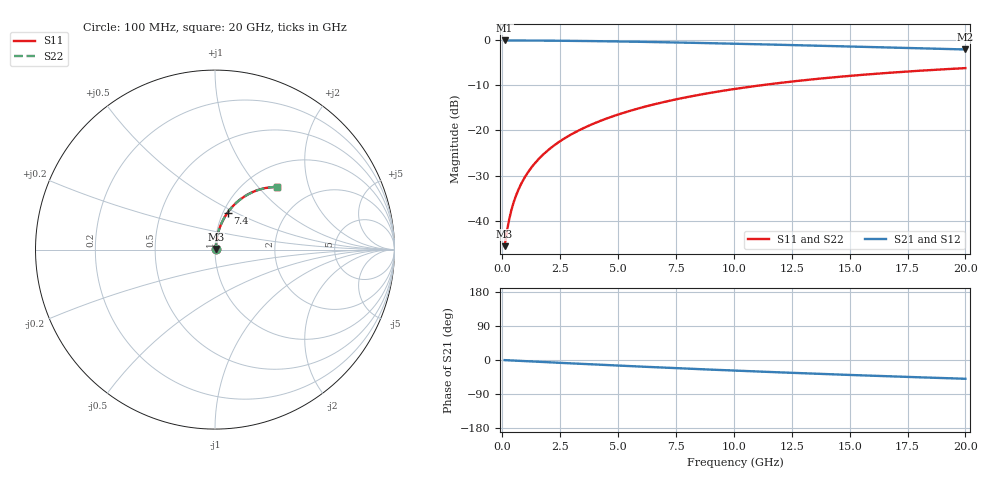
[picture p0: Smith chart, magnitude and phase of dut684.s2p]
! Touchstone file exported from HFSS 2024.1.0
!  File:  C:/UserFiles/LocalFiles/RDL_TSV_Batchsim/temp_RDL_bottom_684_1779786727.aedt
!  Generated:  05:14:38 PM May 26, 2026
!  Design:  RDL_bottom
!  Project:  temp_RDL_bottom_684_1779786727
!  Setup:  Setup1
!  Solution:  Sweep
! Variables:
!  dtsv = 10.80580581um
!  hbump = 3um
!  htsv = 87um
!  ldown = 689.73um
!  lrdl = 100um
!  p = 40
!  p1 = 48.77um
!  rhole = 1um
!  t = 450um
!  tdown = 4.19um
!  trdl = 3.915915916um
!  wdown = 14.47um
!  wrdl = 20um
# GHz S MA R 50.000000
! Terminal data exported
! Port[1] = RDL1_T1
! Port[2] = RDL1_T2
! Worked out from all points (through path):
!   200 points, 100 MHz to 20 GHz, reference 50 ohm
!   highest |S21| = -0.04 dB at 100 MHz (marker M1); lowest = -2.0 dB at 20 GHz (marker M2)
!   group delay of S21, straight-line fit = 6.87 ps
!   lowest |S11| = -45.7 dB at 100 MHz (marker M3), VSWR 1.01, Z = 50.4 + j0.321 ohm
!   |S11| at or under -10 dB: start of sweep to 11.14 GHz
!   |S22| runs from -45.7 to -6.2 dB; largest |S21 - S12| = 1.1e-14
!   S11 on the Smith chart (normalised r, x): 100 MHz: 1.01, +0.01; 7.4 GHz: 1.05, +0.46; 20 GHz: 1.38, +1.27
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0.1  0.0052 37.8  0.9959 -0.3  0.9959 -0.3  0.0052 37.8
! Gamma 0 0 0 0
! Port Impedance 50 0 50 0
0.2  0.007621 56.2  0.9958 -0.6  0.9958 -0.6  0.007621 56.2
0.3  0.0104 64.9  0.9956 -0.9  0.9956 -0.9  0.0104 64.9
0.4  0.01329 69.7  0.9954 -1.2  0.9954 -1.2  0.01329 69.7
0.5  0.01621 72.8  0.9952 -1.5  0.9952 -1.5  0.01621 72.8
0.6  0.01915 74.8  0.9951 -1.8  0.9951 -1.8  0.01915 74.8
0.8  0.02508 77.4  0.9947 -2.4  0.9947 -2.4  0.02508 77.4
1.1  0.03404 79.4  0.994 -3.3  0.994 -3.3  0.03404 79.4
1.5  0.04604 80.5  0.9928 -4.5  0.9928 -4.5  0.04604 80.5
1.8  0.05505 80.7  0.9918 -5.4  0.9918 -5.4  0.05505 80.7
2.1  0.06407 80.7  0.9906 -6.3  0.9906 -6.3  0.06407 80.7
2.7  0.08206 80.2  0.9876 -8.1  0.9876 -8.1  0.08206 80.1
3.5  0.1059 79.0  0.9827 -10.4  0.9827 -10.4  0.1059 79.0
4.2  0.1266 77.8  0.9776 -12.4  0.9776 -12.4  0.1266 77.7
5  0.15 76.2  0.971 -14.7  0.971 -14.7  0.15 76.2
6.8  0.2015 72.5  0.9536 -19.6  0.9536 -19.6  0.2015 72.4
7.4  0.2183 71.2  0.9471 -21.2  0.9471 -21.2  0.2182 71.1
8.7  0.2536 68.3  0.9324 -24.6  0.9324 -24.6  0.2536 68.3
10.1  0.2902 65.3  0.9156 -28.1  0.9156 -28.1  0.2901 65.2
13.4  0.3688 58.2  0.874 -35.9  0.874 -35.9  0.3687 58.2
16.7  0.4358 51.5  0.8318 -43.0  0.8318 -43.0  0.4357 51.4
20  0.4913 45.3  0.7913 -49.5  0.7913 -49.5  0.4912 45.2
